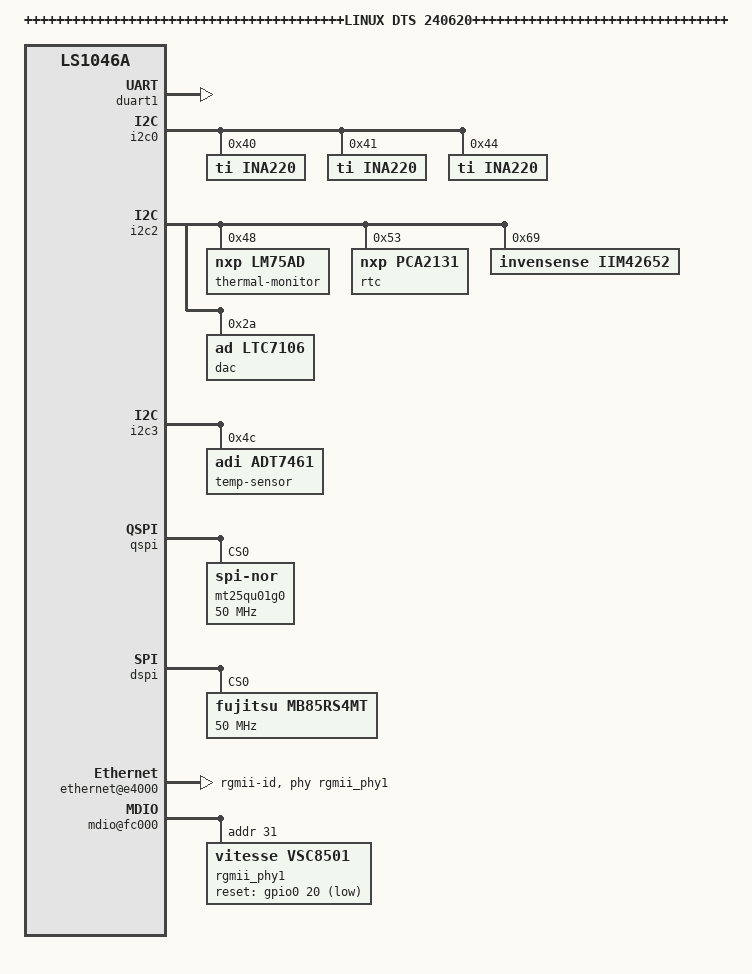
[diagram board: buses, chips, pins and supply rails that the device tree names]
/dts-v1/;

#include "fsl-ls1046a.dtsi"
#include "dt-bindings/gpio/gpio.h" 

/ {
	model = "++++++++++++++++++++++++++++++++++++++++LINUX DTS 240620++++++++++++++++++++++++++++++++";
	compatible = "fsl,ls1046a";

	aliases {
		serial0 = &duart0;
		serial1 = &duart1;
		serial2 = &duart2;
		serial3 = &duart3;
	};

	chosen {
		stdout-path = "serial0:115200n8";
	};
};

&duart1 {
	status = "okay";
};

&esdhc {
	mmc-hs200-1_8v;
};

&i2c0 {
	status = "okay";

	ina220@40 {
		compatible = "ti,ina220";
		reg = <0x40>;
		shunt-resistor = <1000>;
	};

	ina220@41 {
		compatible = "ti,ina220";
		reg = <0x41>;
		shunt-resistor = <1000>;
	};

	ina220@44 {
		compatible = "ti,ina220";
		reg = <0x44>;
		shunt-resistor = <1000>;
	};
};


&i2c2 {
	status = "okay";

			
	thermal-monitor@48 {
		compatible = "nxp,lm75ad";
		reg = <0x48>;
	};

	rtc@53 {
		compatible = "nxp,pca2131";
		reg = <0x53>;
		};

	iim42652@69 {
		compatible = "invensense,iim42652";
		reg = <0x69>;
	};

	
	dac@2a {
		compatible = "ad,ltc7106";
		reg = <0x2a>;
	};
};


&i2c3 {
	status = "okay";


	temp-sensor@4c {
		compatible = "adi,adt7461";
		reg = <0x4c>;
	};

};
	

&qspi {
	status = "okay";

	mt25qu01g0: flash@0 {
		compatible = "jedec,spi-nor";
		#address-cells = <1>;
		#size-cells = <1>;
		spi-max-frequency = <50000000>;
		spi-rx-bus-width = <4>;
		spi-tx-bus-width = <1>;
		reg = <0>;
	};
};


&dspi {
    status = "okay";

    mb85rs4mt: fram@0 {
        #address-cells = <1>;
        #size-cells = <1>;
        compatible = "fujitsu,mb85rs4mt";
        spi-max-frequency = <50000000>;
        reg = <0>;
    };

};

#include "fsl-ls1046-post.dtsi"

&fman0 {
	
	ethernet@e4000 { 
		phy-handle = <&rgmii_phy1>;
		phy-connection-type = "rgmii-id";
		status = "okay";
	};

	mdio@fc000 {

		rgmii_phy1: ethernet-phy@1 {
		compatible = "vitesse,vsc8501";
		device_type = "ethernet-phy";
			reg = <0x1f>;
		reset-gpios = <&gpio0 20 GPIO_ACTIVE_LOW>;
		};
	};
};

